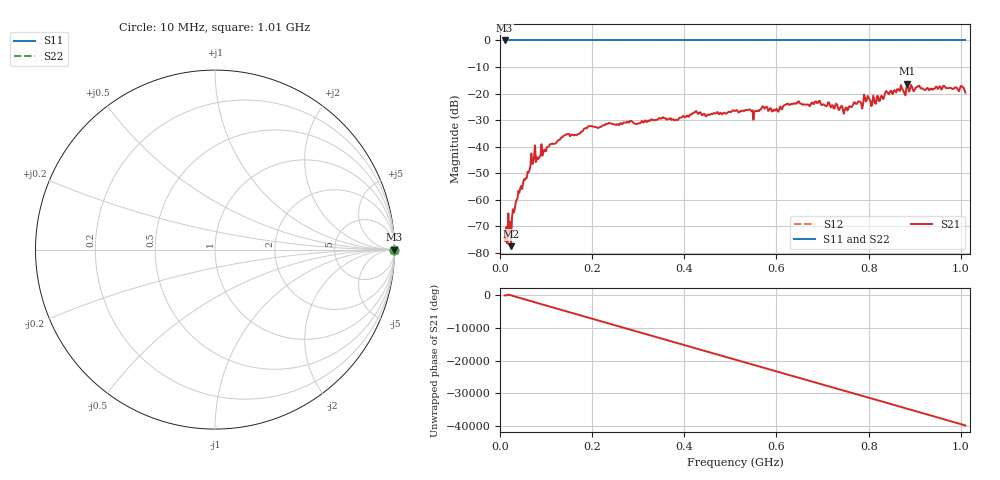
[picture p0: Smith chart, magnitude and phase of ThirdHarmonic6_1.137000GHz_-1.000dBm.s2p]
! 8/16/2025 11:08:03 AM
! C:\ANRITSUVNA\TEMP\TEMP.S2P
! CHANNEL.1
! TR.MEASUREMENT
! RAW.DATA
! RF.CORRECTION.OFF
! AVERAGING.OFF
! IF.BANDWIDTH: 5KHZ
! SWEEPTYPE:  FREQ.SWEEP(Linear)
! Reference Plane Port Info
! PORT:  PORT1  PORT2
! DISTANCE:  0  m  0  m
! TIME:  0  s  0  s
! PHASE.OFFSET:  0  deg.  0  deg.
! LOSS:  0  dB  0  dB
! REF.LOSS:  0  dB  0  dB
! REF.FREQ:  0  Hz  0  Hz
! Power Info
! POWER:  -20  dBm  -20  dBm
! EFF.POWER:  -20  dBm  -20  dBm
! SOURCE.ATTEN:  0  dB  0  dB
! TEST.ATTEN:  0  dB  0  dB
# GHZ S RI R 50.0
! FREQ.GHZ  S11RE  S11IM  S21RE  S21IM  S12RE  S12IM  S22RE  S22IM
!; PortSelection: Port_12
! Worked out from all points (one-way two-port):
!   501 points, 10 MHz to 1.01 GHz, reference 50 ohm
!   highest |S21| = -16.27 dB at 884 MHz (marker M1); lowest = -77.4 dB at 24 MHz (marker M2)
!   lowest |S11| = 0.0 dB at 10 MHz (marker M3)
!   |S11| at or under -10 dB: nowhere
!   |S22| runs from 0.0 to 0.0 dB; largest |S21 - S12| = 1.1
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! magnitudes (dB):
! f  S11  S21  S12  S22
! 10 MHz  0.0  -74.5  0.0  0.0
! 24 MHz  0.0  -77.4  0.0  0.0
! 40 MHz  0.0  -56.6  0.0  0.0
! 72 MHz  0.0  -46.1  0.0  0.0
! 82 MHz  0.0  -44.7  0.0  0.0
! 142 MHz  0.0  -35.5  0.0  0.0
! 178 MHz  0.0  -34.3  0.0  0.0
! 196 MHz  0.0  -32.3  0.0  0.0
! 344 MHz  0.0  -29.5  0.0  0.0
! 510 MHz  0.0  -26.5  0.0  0.0
! 554 MHz  0.0  -26.6  0.0  0.0
! 574 MHz  0.0  -25.7  0.0  0.0
! 594 MHz  0.0  -26.0  0.0  0.0
! 622 MHz  0.0  -23.9  0.0  0.0
! 678 MHz  0.0  -23.4  0.0  0.0
! 750 MHz  0.0  -25.4  0.0  0.0
! 794 MHz  0.0  -22.9  0.0  0.0
! 810 MHz  0.0  -20.8  0.0  0.0
! 844 MHz  0.0  -20.3  0.0  0.0
! 884 MHz  0.0  -16.3  0.0  0.0
! 1.002 GHz  0.0  -17.2  0.0  0.0
! 1.01 GHz  0.0  -19.6  0.0  0.0
